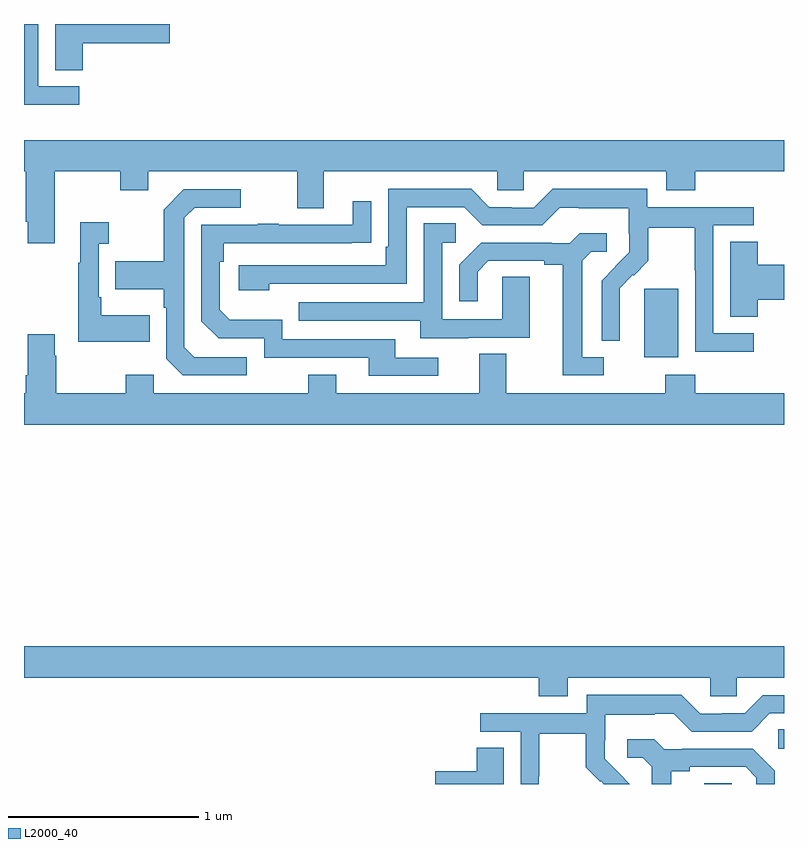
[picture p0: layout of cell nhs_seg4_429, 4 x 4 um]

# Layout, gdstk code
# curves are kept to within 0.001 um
import gdstk
lib = gdstk.Library(unit=1e-6, precision=1e-09)
def R(c, l, rs):  # rectangles x0, y0, x1, y1
    for r in rs: c.add(gdstk.rectangle(r[:2], r[2:], *l))
def P(c, l, *ps):  # polygons
    for p in ps: c.add(gdstk.Polygon(p, *l))
L2000_40 = (2000, 40)

nhs_seg4_429 = lib.new_cell('nhs_seg4_429')
R(nhs_seg4_429, L2000_40, [(134.579,822.9,134.724,822.905), (134.97,823.086,135,823.187), (134.264,825.146,134.443,825.507)])
P(nhs_seg4_429, L2000_40, [(131.29,826.572),(131.076,826.572),(131.076,826.9),(131,826.9),(131,826.476),(131.29,826.476)],
  [(131.309,826.799),(131.767,826.799),(131.767,826.9),(131.165,826.9),(131.165,826.657),(131.309,826.657)],
  [(131.161,826.124),(131.506,826.124),(131.506,826.025),(131.653,826.025),(131.653,826.124),(132.437,826.124),(132.437,825.93),(132.577,825.93),(132.577,826.124),(133.491,826.124),(133.491,826.026),(133.629,826.026),(133.629,826.124),(134.381,826.124),(134.381,826.025),(134.534,826.025),(134.534,826.124),(135,826.124),(135,826.288),(131,826.288),(131,826.124),(131.009,826.124),(131.009,825.859),(131.021,825.859),(131.021,825.747),(131.161,825.747)],
  [(134.842,825.273),(134.628,825.273),(134.628,825.84),(134.842,825.84),(134.842,825.936),(134.28,825.936),(134.28,826.033),(133.783,826.033),(133.683,825.933),(133.568,825.933),(133.568,825.936),(133.449,825.936),(133.353,826.032),(132.918,826.032),(132.918,825.727),(132.905,825.727),(132.905,825.63),(132.129,825.63),(132.129,825.5),(132.29,825.5),(132.29,825.534),(133.014,825.534),(133.014,825.936),(133.317,825.936),(133.413,825.84),(133.728,825.84),(133.821,825.933),(133.921,825.933),(133.921,825.929),(134.184,825.929),(134.184,825.795),(134.186,825.795),(134.186,825.698),(134.04,825.55),(134.04,825.232),(134.136,825.232),(134.135,825.509),(134.205,825.579),(134.208,825.576),(134.285,825.653),(134.285,825.828),(134.53,825.828),(134.53,825.604),(134.532,825.604),(134.532,825.175),(134.842,825.175)],
  [(132.172,825.147),(131.895,825.147),(131.844,825.198),(131.844,825.879),(131.898,825.933),(132.142,825.933),(132.142,826.029),(131.841,826.029),(131.736,825.923),(131.736,825.651),(131.479,825.651),(131.479,825.503),(131.736,825.503),(131.736,825.407),(131.748,825.407),(131.748,825.138),(131.835,825.051),(132.172,825.051)],
  [(133.18,825.144),(132.955,825.144),(132.955,825.24),(132.36,825.24),(132.36,825.343),(132.083,825.343),(132.03,825.396),(132.03,825.65),(132.05,825.65),(132.05,825.747),(132.827,825.748),(132.827,825.967),(132.731,825.967),(132.731,825.843),(132.341,825.843),(132.341,825.848),(132.229,825.848),(132.229,825.843),(131.934,825.843),(131.934,825.336),(132.024,825.246),(132.264,825.246),(132.264,825.144),(132.815,825.144),(132.815,825.048),(133.18,825.048)],
  [(131.663,825.367),(131.407,825.367),(131.407,825.463),(131.394,825.463),(131.394,825.743),(131.446,825.743),(131.446,825.856),(131.297,825.856),(131.297,825.643),(131.286,825.643),(131.286,825.227),(131.663,825.227)],
  [(133.339,825.249),(133.663,825.249),(133.663,825.569),(133.518,825.569),(133.518,825.345),(133.2,825.345),(133.2,825.75),(133.273,825.75),(133.273,825.851),(133.104,825.851),(133.104,825.435),(132.445,825.435),(132.445,825.339),(133.085,825.339),(133.085,825.245),(133.339,825.245)],
  [(134.05,825.147),(133.939,825.147),(133.939,825.655),(133.986,825.702),(134.068,825.702),(134.068,825.799),(133.924,825.799),(133.872,825.747),(133.778,825.747),(133.778,825.75),(133.406,825.75),(133.29,825.634),(133.29,825.441),(133.387,825.441),(133.387,825.597),(133.444,825.654),(133.739,825.654),(133.739,825.632),(133.835,825.632),(133.835,825.051),(134.05,825.051)],
  [(134.861,825.449),(135,825.449),(135,825.632),(134.861,825.632),(134.861,825.755),(134.717,825.755),(134.717,825.358),(134.861,825.358)],
  [(135,824.956),(134.534,824.956),(134.534,825.055),(134.374,825.055),(134.374,824.956),(133.537,824.956),(133.537,825.164),(133.397,825.164),(133.397,824.956),(132.643,824.956),(132.643,825.055),(132.496,825.055),(132.496,824.956),(131.682,824.956),(131.682,825.055),(131.536,825.055),(131.536,824.956),(131.169,824.956),(131.169,825.155),(131.161,825.155),(131.161,825.268),(131.021,825.268),(131.021,825.052),(131.009,825.052),(131.009,824.956),(131,824.956),(131,824.792),(135,824.792)],
  [(133.861,823.46),(134.613,823.46),(134.613,823.362),(134.751,823.362),(134.751,823.46),(135,823.46),(135,823.624),(131,823.624),(131,823.46),(133.709,823.46),(133.709,823.361),(133.861,823.361)],
  [(133.71,822.94),(133.713,822.94),(133.713,823.164),(133.957,823.164),(133.957,822.989),(134.034,822.912),(134.037,822.915),(134.052,822.9),(134.188,822.9),(134.056,823.034),(134.056,823.131),(134.058,823.131),(134.058,823.265),(134.321,823.265),(134.321,823.269),(134.421,823.269),(134.514,823.176),(134.829,823.176),(134.925,823.272),(135,823.272),(135,823.368),(134.889,823.368),(134.793,823.272),(134.675,823.272),(134.675,823.269),(134.559,823.269),(134.459,823.369),(133.962,823.369),(133.962,823.272),(133.401,823.272),(133.401,823.176),(133.614,823.176),(133.614,822.9),(133.71,822.9)],
  [(134.407,822.968),(134.503,822.968),(134.503,822.99),(134.798,822.99),(134.855,822.933),(134.855,822.9),(134.952,822.9),(134.952,822.97),(134.836,823.086),(134.464,823.086),(134.464,823.083),(134.37,823.083),(134.318,823.135),(134.175,823.135),(134.175,823.038),(134.256,823.038),(134.303,822.991),(134.303,822.9),(134.407,822.9)],
  [(133.525,823.091),(133.382,823.091),(133.382,822.968),(133.164,822.968),(133.164,822.9),(133.525,822.9)])

lib.write_gds('nhs_seg4_429.gds')
